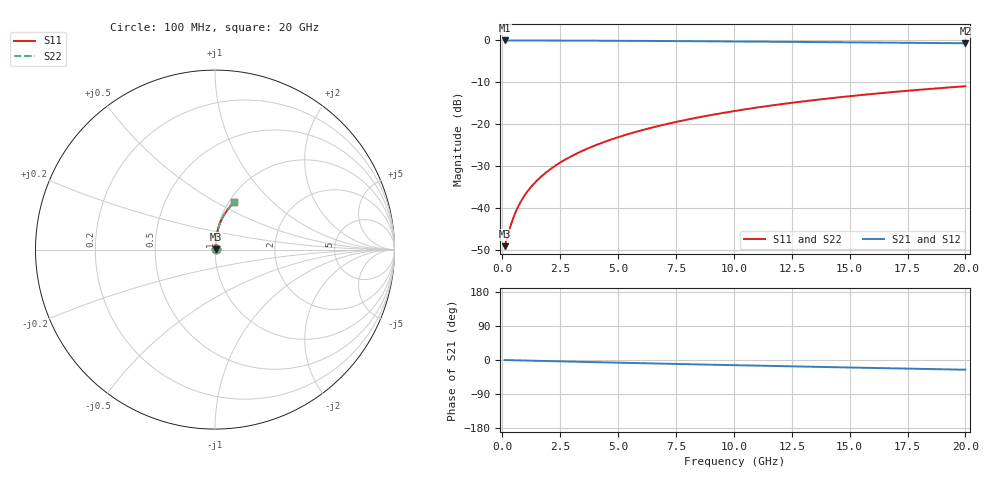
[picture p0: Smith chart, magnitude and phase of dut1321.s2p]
! Touchstone file exported from HFSS 2024.1.0
!  File:  C:/UserFiles/LocalFiles/RDL_TSV_Batchsim/temp_RDL_top_1321_1780365037.aedt
!  Generated:  09:52:58 AM Jun  2, 2026
!  Design:  RDL_top
!  Project:  temp_RDL_top_1321_1780365037
!  Setup:  Setup1
!  Solution:  Sweep
! Variables:
!  dtsv = 10.80580581um
!  hbump = 3um
!  htsv = 75.88um
!  ldown = 100um
!  lrdl = 324.7um
!  p = 40
!  p1 = 43.59um
!  rhole = 1um
!  t = 450um
!  tdown = 3.915915916um
!  trdl = 2.31um
!  wdown = 15.38538539um
!  wrdl = 17.37um
# GHz S MA R 50.000000
! Terminal data exported
! Port[1] = Box2_T1
! Port[2] = Box2_T2
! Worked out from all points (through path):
!   200 points, 100 MHz to 20 GHz, reference 50 ohm
!   highest |S21| = -0.03 dB at 100 MHz (marker M1); lowest = -0.7 dB at 20 GHz (marker M2)
!   group delay of S21, straight-line fit = 3.55 ps
!   lowest |S11| = -49.2 dB at 100 MHz (marker M3), VSWR 1.01, Z = 50.3 + j0.149 ohm
!   |S11| at or under -10 dB: start of sweep to end of sweep
!   |S22| runs from -49.2 to -11.0 dB; largest |S21 - S12| = 2.2e-15
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0.1  0.003478 25.1  0.9968 -0.2  0.9968 -0.2  0.003478 25.1
! Gamma 0 0 0 0
! Port Impedance 50 0 50 0
0.4  0.006615 60.2  0.9966 -0.6  0.9966 -0.6  0.006614 60.2
0.5  0.007894 64.8  0.9965 -0.7  0.9965 -0.7  0.007892 64.8
0.6  0.009201 68.1  0.9964 -0.9  0.9964 -0.9  0.009199 68.1
0.7  0.01052 70.5  0.9963 -1.0  0.9963 -1.0  0.01052 70.5
0.9  0.01318 73.9  0.996 -1.3  0.996 -1.3  0.01318 73.9
1.2  0.01717 77.0  0.9957 -1.7  0.9957 -1.7  0.01717 77.0
1.4  0.01984 78.3  0.9954 -2.0  0.9954 -2.0  0.01984 78.3
1.7  0.02386 79.8  0.9951 -2.5  0.9951 -2.5  0.02386 79.8
2.2  0.0306 81.4  0.9943 -3.2  0.9943 -3.2  0.0306 81.5
2.8  0.03878 82.6  0.9933 -4.0  0.9933 -4.0  0.03878 82.6
3.5  0.04845 83.2  0.9918 -5.0  0.9918 -5.0  0.04845 83.2
4.2  0.05825 83.5  0.9901 -6.0  0.9901 -6.0  0.05825 83.5
5  0.06961 83.5  0.9878 -7.1  0.9878 -7.1  0.06961 83.5
5.9  0.08255 83.2  0.985 -8.3  0.985 -8.3  0.08255 83.2
6.8  0.09565 82.7  0.9819 -9.5  0.9819 -9.5  0.09565 82.7
8.4  0.1192 81.4  0.976 -11.6  0.976 -11.6  0.1192 81.4
10.1  0.1443 79.7  0.9691 -13.8  0.9691 -13.8  0.1443 79.7
11.7  0.1678 78.0  0.9622 -15.8  0.9622 -15.8  0.1678 78.0
13.4  0.1925 76.0  0.9546 -17.9  0.9546 -17.9  0.1925 76.0
16.7  0.2389 72.0  0.9392 -21.8  0.9392 -21.8  0.239 72.0
20  0.283 68.1  0.9229 -25.6  0.9229 -25.6  0.283 68.1
